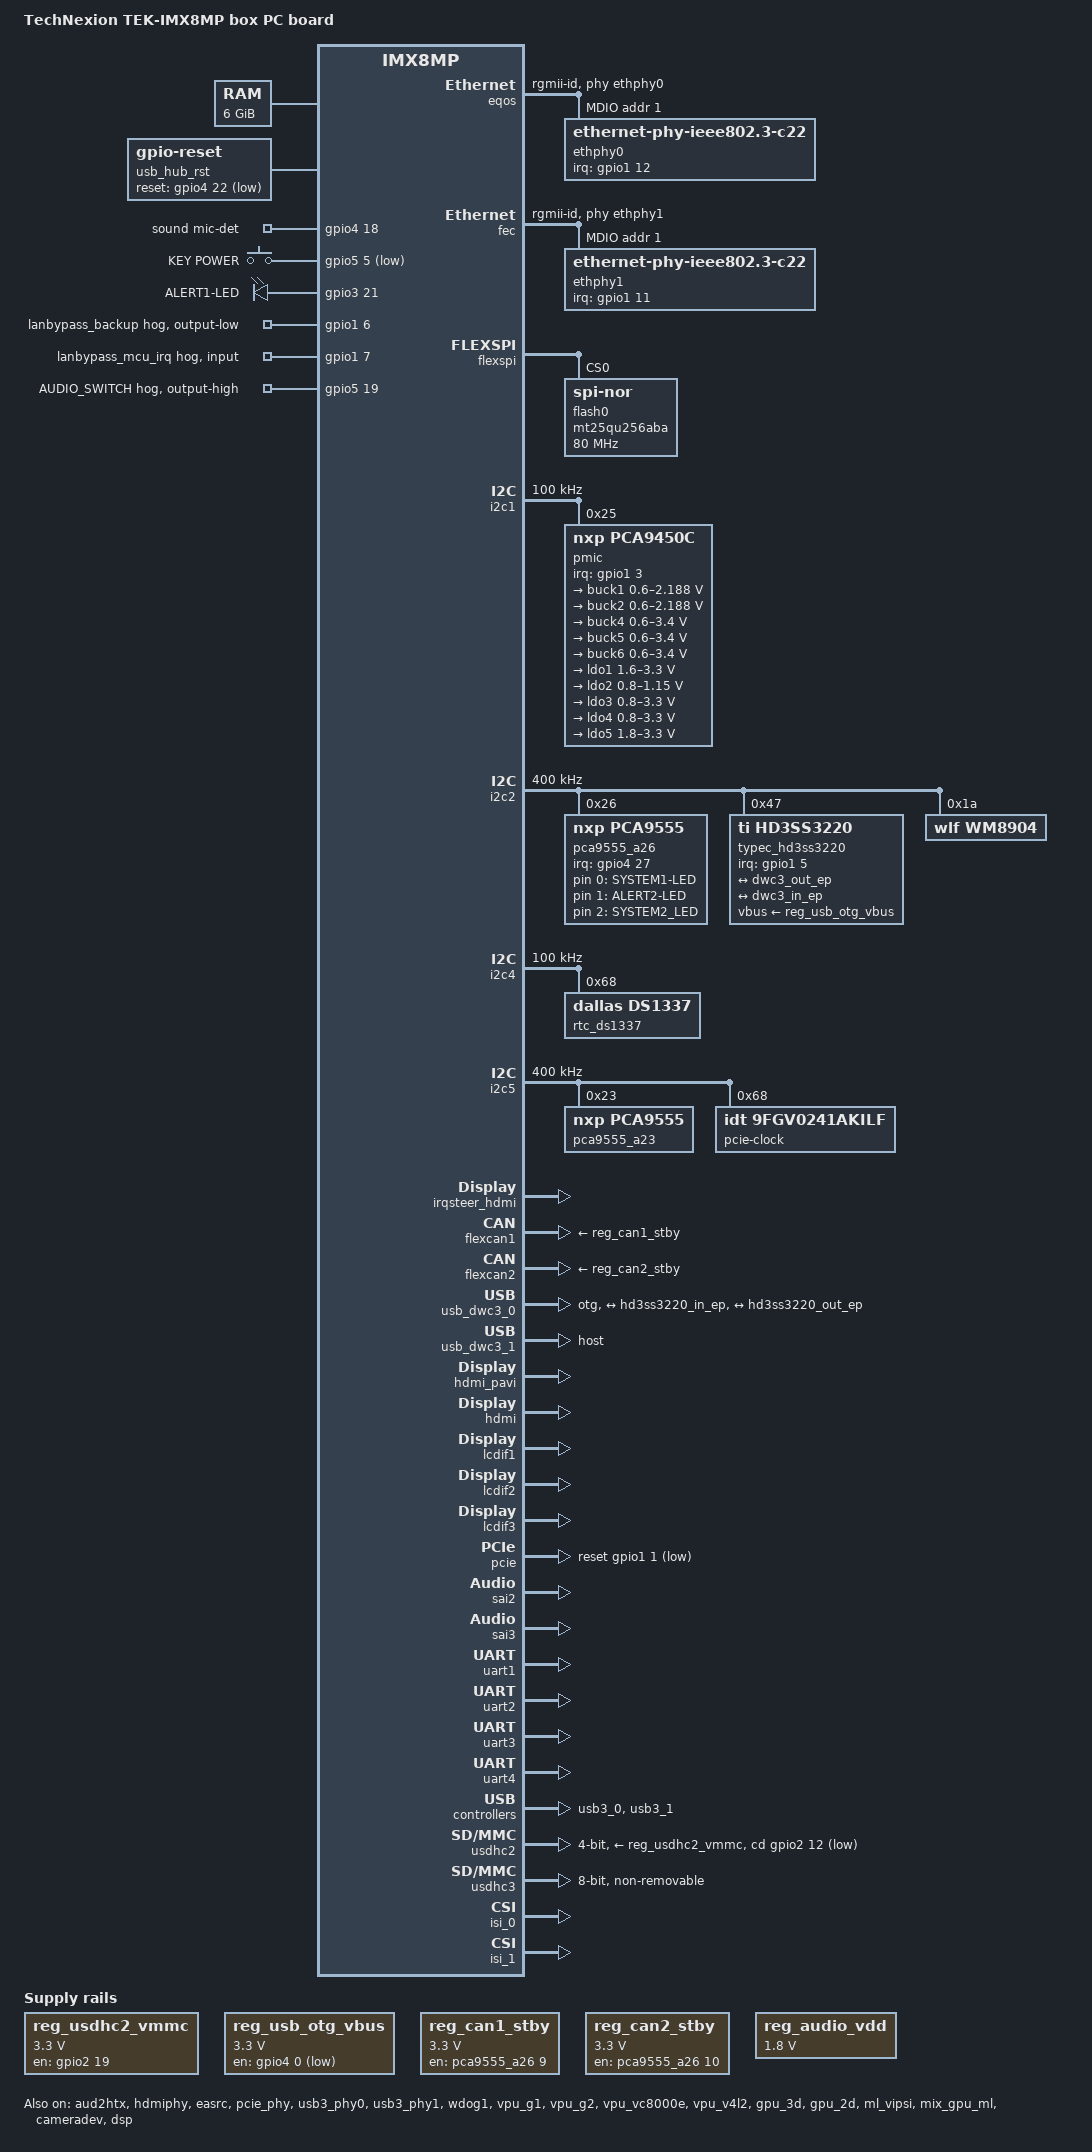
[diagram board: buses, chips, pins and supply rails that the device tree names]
// SPDX-License-Identifier: (GPL-2.0+ OR MIT)
/*
 * Copyright 2021 Technexion Ltd.
 *
 * Author: Wig Cheng <wig.cheng@technexion.com>
 *
 */

/dts-v1/;

#include <dt-bindings/usb/pd.h>
#include "imx8mp.dtsi"

/ {
	model = "TechNexion TEK-IMX8MP box PC board";
	compatible = "fsl,imx8mp-tek", "fsl,imx8mp";

	 memory@40000000 {
		device_type = "memory";
		reg = <0x0 0x40000000 0 0xc0000000>,
					<0x1 0x00000000 0 0xc0000000>;
	};

	chosen {
		stdout-path = &uart2;
	};

	reg_usdhc2_vmmc: regulator-usdhc2 {
		compatible = "regulator-fixed";
		regulator-name = "VSD_3V3";
		regulator-min-microvolt = <3300000>;
		regulator-max-microvolt = <3300000>;
		gpio = <&gpio2 19 GPIO_ACTIVE_HIGH>;
		enable-active-high;
		startup-delay-us = <100>;
		off-on-delay-us = <12000>;
	};

	reg_usb_otg_vbus: usb_otg_vbus {
		pinctrl-names = "default";
		pinctrl-0 = <&pinctrl_otg_vbus>;
		compatible = "regulator-fixed";
		regulator-name = "usb_otg_vbus";
		regulator-min-microvolt = <3300000>;
		regulator-max-microvolt = <3300000>;
		gpio = <&gpio4 0 GPIO_ACTIVE_LOW>;
		enable-active-low;
	};

	reg_can1_stby: regulator-can1-stby {
		compatible = "regulator-fixed";
		regulator-name = "can1-stby";
		pinctrl-names = "default";
		regulator-min-microvolt = <3300000>;
		regulator-max-microvolt = <3300000>;
		gpio = <&pca9555_a26 9 GPIO_ACTIVE_HIGH>;
		enable-active-high;
	};

	reg_can2_stby: regulator-can2-stby {
		compatible = "regulator-fixed";
		regulator-name = "can2-stby";
		pinctrl-names = "default";
		regulator-min-microvolt = <3300000>;
		regulator-max-microvolt = <3300000>;
		gpio = <&pca9555_a26 10 GPIO_ACTIVE_HIGH>;
		enable-active-high;
	};

	reg_audio_vdd: regulator-audio-vdd {
		compatible = "regulator-fixed";
		regulator-name = "wm8904_supply";
		regulator-min-microvolt = <1800000>;
		regulator-max-microvolt = <1800000>;
		regulator-always-on;
	};

	sound-hdmi {
		compatible = "fsl,imx-audio-cdnhdmi";
		model = "audio-hdmi";
		audio-cpu = <&aud2htx>;
		hdmi-out;
		constraint-rate = <44100>,
				<88200>,
				<176400>,
				<32000>,
				<48000>,
				<96000>,
				<192000>;
		status = "okay";
	};

	usb_hub_rst: usb_hub_rst {
		compatible = "gpio-reset";
		pinctrl-names = "default";
		pinctrl-0 = <&pinctrl_usb_hub_ctrl>;
		reset-gpios = <&gpio4 22 GPIO_ACTIVE_LOW>;
		reset-delay-us = <10>;
		#reset-cells = <0>;
	};

	sound {
		compatible = "fsl,imx-audio-wm8904";
		model = "wm8904-audio";
		cpu-dai = <&sai3>;
		audio-codec = <&wm8904>;
		asrc-controller;
		gpr = <&gpr>;
		audio-routing =
			"Headphone Jack", "HPOUTL",
			"Headphone Jack", "HPOUTR",
			"Mic Jack", "MICBIAS",
			"IN1R", "Mic Jack";

		mic-det-gpios = <&gpio4 18 0>;
	};

 gpio_keys {
		compatible = "gpio-keys";
		pinctrl-names = "default";
		pinctrl-0 = <&pinctrl_gpio_key_user>;

		reboot {
			gpios = <&gpio5 5 GPIO_ACTIVE_LOW>;
			label = "KEY POWER";
			linux,code = <KEY_POWER>;
		};
	};

	leds {
		compatible = "gpio-leds";
		pinctrl-names = "default";
		pinctrl-0 = <&pinctrl_gpio_leds>;

		led_1 {
			label = "ALERT1-LED";
			gpios = <&gpio3 21 GPIO_ACTIVE_HIGH>;
			default-state = "on";
		};

		led_2 {
			label = "SYSTEM1-LED";
			gpios = <&pca9555_a26 0 GPIO_ACTIVE_HIGH>;
			default-state = "on";
			linux,default-trigger = "heartbeat";
		};

		led_3 {
			label = "ALERT2-LED";
			gpios = <&pca9555_a26 1 GPIO_ACTIVE_HIGH>;
			default-state = "on";
		};

		led_4 {
			label = "SYSTEM2_LED";
			gpios = <&pca9555_a26 2 GPIO_ACTIVE_HIGH>;
			default-state = "on";
		};
	};
};

&aud2htx {
	status = "okay";
};

&gpio1 {
	pinctrl-0 = <&pinctrl_gpio1>;

	gpio-line-names =	\
		"", "", "", "", "", "", "LANBYPASS_BACKUP", "LANBYPASS_MCU_IRQ",	\
		"LANBYPASS_gen_clock", "", "", "", "", "", "", "",	\
		"", "", "", "", "", "", "", "",	\
		"", "", "", "", "", "", "", "";

	lanbypass_backup {
		gpio-hog;
		gpios = <6 GPIO_ACTIVE_HIGH>;
		output-low;
	};

	lanbypass_mcu_irq {
		gpio-hog;
		gpios = <7 GPIO_ACTIVE_HIGH>;
		input;
	};
};

&gpio3 {
	pinctrl-0 = <&pinctrl_gpio3>;

	gpio-line-names =	\
		"", "", "", "", "", "", "", "",	\
		"", "", "", "", "", "", "", "",	\
		"", "", "", "BUZZER", "", "LED1", "", "",	\
		"", "", "", "", "", "", "", "";
};

&gpio4 {
	pinctrl-0 = <&pinctrl_gpio4>;

	gpio-line-names =	\
		"", "", "", "", "", "", "", "",	\
		"", "", "", "", "", "", "", "",	\
		"", "", "", "", "", "", "", "",	\
		"", "", "", "", "SE050_EN", "SE050_ISO7816_RST", "", "";
};

&gpio5 {
	pinctrl-0 = <&pinctrl_gpio5>;

	audio_switch {
		gpio-hog;
		gpios = <19 GPIO_ACTIVE_HIGH>;
		line-name = "AUDIO_SWITCH";
		output-high;
	};
};

&A53_0 {
	cpu-supply = <&buck2>;
};

&A53_1 {
	cpu-supply = <&buck2>;
};

&A53_2 {
	cpu-supply = <&buck2>;
};

&A53_3 {
	cpu-supply = <&buck2>;
};

&eqos {
	pinctrl-names = "default";
	pinctrl-0 = <&pinctrl_eqos>;
	phy-mode = "rgmii-id";
	phy-handle = <&ethphy0>;
	status = "okay";

	mdio {
		compatible = "snps,dwmac-mdio";
		#address-cells = <1>;
		#size-cells = <0>;

		ethphy0: ethernet-phy@1 {
			/* Atheros AR8035 PHY */
			compatible = "ethernet-phy-ieee802.3-c22";
			interrupts-extended = <&gpio1 12 IRQ_TYPE_LEVEL_LOW>;
			reg = <1>;
			eee-broken-1000t;
			at803x,eee-disabled;
			at803x,vddio-1p8v;
			rtl821x,aldps-disable;
			rtl821x,clkout-disable;
		};
	};
};

&fec {
	pinctrl-names = "default";
	pinctrl-0 = <&pinctrl_fec>;
	phy-mode = "rgmii-id";
	phy-handle = <&ethphy1>;
	fsl,magic-packet;
	status = "okay";

	mdio {
		#address-cells = <1>;
		#size-cells = <0>;

		ethphy1: ethernet-phy@1 {
			compatible = "ethernet-phy-ieee802.3-c22";
			interrupts-extended = <&gpio1 11 IRQ_TYPE_LEVEL_LOW>;
			reg = <1>;
			at803x,eee-disabled;
			at803x,vddio-1p8v;
			rtl821x,aldps-disable;
			rtl821x,clkout-disable;
		};
	};
};

&snvs_rtc {
	status = "disbaled";
};

&snvs_pwrkey {
	status = "disabled";
};

&flexspi {
	pinctrl-names = "default";
	pinctrl-0 = <&pinctrl_flexspi0>;
	status = "okay";

	flash0: mt25qu256aba@0 {
		reg = <0>;
		#address-cells = <1>;
		#size-cells = <1>;
		compatible = "jedec,spi-nor";
		spi-max-frequency = <80000000>;
		spi-tx-bus-width = <4>;
		spi-rx-bus-width = <4>;
	};
};

&i2c1 {
	clock-frequency = <100000>;
	pinctrl-names = "default";
	pinctrl-0 = <&pinctrl_i2c1>;
	status = "okay";

	pmic: pca9450@25 {
		reg = <0x25>;
		compatible = "nxp,pca9450c";
		/* PMIC PCA9450 PMIC_nINT GPIO1_IO3 */
		pinctrl-0 = <&pinctrl_pmic>;
		interrupt-parent = <&gpio1>;
		interrupts = <3 GPIO_ACTIVE_LOW>;

		regulators {
			buck1: BUCK1 {
				regulator-name = "BUCK1";
				regulator-min-microvolt = <600000>;
				regulator-max-microvolt = <2187500>;
				regulator-boot-on;
				regulator-always-on;
				regulator-ramp-delay = <3125>;
			};

			buck2: BUCK2 {
				regulator-name = "BUCK2";
				regulator-min-microvolt = <600000>;
				regulator-max-microvolt = <2187500>;
				regulator-boot-on;
				regulator-always-on;
				regulator-ramp-delay = <3125>;
				nxp,dvs-run-voltage = <950000>;
				nxp,dvs-standby-voltage = <850000>;
			};

			buck4: BUCK4{
				regulator-name = "BUCK4";
				regulator-min-microvolt = <600000>;
				regulator-max-microvolt = <3400000>;
				regulator-boot-on;
				regulator-always-on;
			};

			buck5: BUCK5{
				regulator-name = "BUCK5";
				regulator-min-microvolt = <600000>;
				regulator-max-microvolt = <3400000>;
				regulator-boot-on;
				regulator-always-on;
			};

			buck6: BUCK6 {
				regulator-name = "BUCK6";
				regulator-min-microvolt = <600000>;
				regulator-max-microvolt = <3400000>;
				regulator-boot-on;
				regulator-always-on;
			};

			ldo1: LDO1 {
				regulator-name = "LDO1";
				regulator-min-microvolt = <1600000>;
				regulator-max-microvolt = <3300000>;
				regulator-boot-on;
				regulator-always-on;
			};

			ldo2: LDO2 {
				regulator-name = "LDO2";
				regulator-min-microvolt = <800000>;
				regulator-max-microvolt = <1150000>;
				regulator-boot-on;
				regulator-always-on;
			};

			ldo3: LDO3 {
				regulator-name = "LDO3";
				regulator-min-microvolt = <800000>;
				regulator-max-microvolt = <3300000>;
				regulator-boot-on;
				regulator-always-on;
			};

			ldo4: LDO4 {
				regulator-name = "LDO4";
				regulator-min-microvolt = <800000>;
				regulator-max-microvolt = <3300000>;
				regulator-boot-on;
				regulator-always-on;
			};

			ldo5: LDO5 {
				regulator-name = "LDO5";
				regulator-min-microvolt = <1800000>;
				regulator-max-microvolt = <3300000>;
				regulator-boot-on;
				regulator-always-on;
			};
		};
	};
};

&i2c2 {
	clock-frequency = <400000>;
	pinctrl-names = "default";
	pinctrl-0 = <&pinctrl_i2c2>;
	status = "okay";

	pca9555_a26: pca9555@26 {
		compatible = "nxp,pca9555";
		pinctrl-names = "default";
		pinctrl-0 = <&pinctrl_pca9555_a26_irq>;
		reg = <0x26>;
		gpio-controller;
		#gpio-cells = <2>;
		interrupt-controller;
		#interrupt-cells = <2>;
		interrupt-parent = <&gpio4>;
		interrupts = <27 IRQ_TYPE_LEVEL_LOW>;
		status = "okay";
		gpio-line-names = "LED2", "LED3", "LED4", "OTG_PD_INT", "OTG_PD_FAULT", "CSI1_INT", "CSI1_PD", "M2_1_DISABLE_N",
							"M2_2_DISABLE_N", "EXT_GPIO1", "EXT_GPIO2", "EXT_GPIO3", "M2_1_POWEROFF", "M2_2_POWEROFF", "M2_2_WWAN_WAKE", "M2_1_WWAN_WAKE";
	};

	typec_hd3ss3220: hd3ss3220@47 {
		compatible = "ti,hd3ss3220";
		interrupts-extended = <&gpio1 5 IRQ_TYPE_LEVEL_LOW>;
		pinctrl-names = "default";
		pinctrl-0 = <&pinctrl_hd3ss3220_irq>;
		vbus-supply = <&reg_usb_otg_vbus>;
		reg = <0x47>;

		ports {
			#address-cells = <1>;
			#size-cells = <0>;

			port@0 {
				reg = <0>;
				hd3ss3220_in_ep: endpoint {
					remote-endpoint = <&dwc3_out_ep>;
				};
			};

			port@1 {
				reg = <1>;
				hd3ss3220_out_ep: endpoint {
					remote-endpoint = <&dwc3_in_ep>;
				};
			};
		};
	};

	wm8904: wm8904@1a {
		compatible = "wlf,wm8904";
		reg = <0x1a>;
		clocks = <&audio_blk_ctrl IMX8MP_CLK_AUDIO_BLK_CTRL_SAI3_MCLK1>;
		clock-names = "mclk";
		wlf,shared-lrclk;
	};

	vizionlink_1: vizionlink@30 {
		reg = <0x30>;
		status = "disabled";

		i2c_dev_list {
			#address-cells = <1>;
			#size-cells = <0>;

			vizionlink_pca9554_a25_1: vizionlink_pca9554@25 {
				reg = <0x25>;
				status = "disabled";
			};

			vizionlink_tevi_ov5640_1: vizionlink_ov5640_mipi@3c {
				reg = <0x3c>;
				status = "disabled";
			};

			vizionlink_tevi_ap1302_1: vizionlink_tevi_ap1302@3d {
				reg = <0x3d>;
				status = "disabled";
			};
		};
	};
};

&i2c4 {
	clock-frequency = <100000>;
	pinctrl-names = "default";
	pinctrl-0 = <&pinctrl_i2c4>;
	status = "okay";

	rtc_ds1337: ds1337@68 {
		compatible = "dallas,ds1337";
		reg = <0x68>;
	};
};

&i2c5 {
	clock-frequency = <400000>;
	pinctrl-names = "default";
	pinctrl-0 = <&pinctrl_i2c5>;
	status = "okay";

	pca9555_a23: pca9555@23 {
		compatible = "nxp,pca9555";
		pinctrl-names = "default";
		pinctrl-0 = <&pinctrl_pca9555_a23_irq>;
		reg = <0x23>;
		gpio-controller;
		#gpio-cells = <2>;
		status = "okay";
		gpio-line-names = "IO0_0", "IO0_1", "IO0_2", "IO0_3", "IO0_4", "IO0_5", "IO0_6", "IO0_7",
							"IO1_0", "IO1_1", "IO1_2", "IO1_3", "IO1_4", "IO1_5", "IO1_6", "IO1_7";
	};

	pcie-clock@68 {
		compatible = "idt,9FGV0241AKILF";
		reg = <0x68>;
	};

	vizionlink_0: vizionlink@30 {
		reg = <0x30>;
		status = "disabled";

		i2c_dev_list {
			#address-cells = <1>;
			#size-cells = <0>;

			vizionlink_pca9554_a25_0: vizionlink_pca9554@25 {
				reg = <0x25>;
				status = "disabled";
			};

			vizionlink_tevi_ov5640_0: vizionlink_ov5640_mipi@3c {
				reg = <0x3c>;
				status = "disabled";
			};

			vizionlink_tevi_ap1302_0: vizionlink_tevi_ap1302@3d {
				reg = <0x3d>;
				status = "disabled";
			};
		};
	};
};

&irqsteer_hdmi {
	status = "okay";
};

&flexcan1 {
	pinctrl-names = "default";
	pinctrl-0 = <&pinctrl_flexcan1>;
	xceiver-supply = <&reg_can1_stby>;
	status = "okay";
};

&flexcan2 {
	pinctrl-names = "default";
	pinctrl-0 = <&pinctrl_flexcan2>;
	xceiver-supply = <&reg_can2_stby>;
	status = "okay";
};

&usb_dwc3_0 {
	dr_mode = "otg";
	pinctrl-names = "default";
	hnp-disable;
	srp-disable;
	adp-disable;
	usb-role-switch;
	status = "okay";

	ports {
		#address-cells = <1>;
		#size-cells = <0>;

		port@0 {
			reg = <0>;
			dwc3_out_ep: endpoint {
				remote-endpoint = <&hd3ss3220_in_ep>;
			};
		};

		port@1 {
			reg = <1>;
			dwc3_in_ep: endpoint {
				remote-endpoint = <&hd3ss3220_out_ep>;
			};
		};
	};
};

&usb_dwc3_1 {
	dr_mode = "host";
	status = "okay";
};

&hdmi_pavi {
	status = "okay";
};

&hdmi {
	status = "okay";
};

&hdmiphy {
	status = "okay";
};

&lcdif1 {
	status = "okay";
};

&lcdif2 {
	status = "okay";
};

&lcdif3 {
	status = "okay";
};

&ldb {
	status = "disabled";
};

&ldb_phy {
	status = "disabled";
};

&mipi_dsi {
	status = "disabled";
};

&mipi_csi_0 {
	status = "disabled";
};

&mipi_csi_1 {
	status = "disabled";
};

&easrc {
	fsl,asrc-rate  = <48000>;
	status = "okay";
};

&pcie{
	pinctrl-names = "default";
	pinctrl-0 = <&pinctrl_pcie>;
	clkreq-gpio = <&gpio1 13 GPIO_ACTIVE_LOW>;
	reset-gpio = <&gpio1 1 GPIO_ACTIVE_LOW>;
	ext_osc = <1>;
	clocks = <&clk IMX8MP_CLK_HSIO_ROOT>,
		 <&clk IMX8MP_CLK_PCIE_AUX>,
		 <&clk IMX8MP_CLK_HSIO_AXI>,
		 <&clk IMX8MP_CLK_PCIE_ROOT>;
	clock-names = "pcie", "pcie_aux", "pcie_phy", "pcie_bus";
	assigned-clocks = <&clk IMX8MP_CLK_HSIO_AXI>,
			  <&clk IMX8MP_CLK_PCIE_AUX>;
	assigned-clock-rates = <500000000>, <10000000>;
	assigned-clock-parents = <&clk IMX8MP_SYS_PLL2_500M>,
				 <&clk IMX8MP_SYS_PLL2_50M>;
	status = "okay";
};

&pcie_phy{
	ext_osc = <1>;
	status = "okay";
};

&sai2 {
	#sound-dai-cells = <0>;
	pinctrl-names = "default";
	pinctrl-0 = <&pinctrl_sai2>;
	assigned-clocks = <&clk IMX8MP_CLK_SAI2>;
	assigned-clock-parents = <&clk IMX8MP_AUDIO_PLL1_OUT>;
	assigned-clock-rates = <12288000>;
	clocks = <&audio_blk_ctrl IMX8MP_CLK_AUDIO_BLK_CTRL_SAI2_IPG>, <&clk IMX8MP_CLK_DUMMY>,
		 <&audio_blk_ctrl IMX8MP_CLK_AUDIO_BLK_CTRL_SAI2_MCLK1>, <&clk IMX8MP_CLK_DUMMY>,
		 <&clk IMX8MP_CLK_DUMMY>;
	clock-names = "bus", "mclk0", "mclk1", "mclk2", "mclk3";
	fsl,sai-mclk-direction-output;
	status = "okay";
};

&sai3 {
	pinctrl-names = "default";
	pinctrl-0 = <&pinctrl_sai3>;
	assigned-clocks = <&clk IMX8MP_CLK_SAI3>;
	assigned-clock-parents = <&clk IMX8MP_AUDIO_PLL1_OUT>;
	assigned-clock-rates = <12288000>;
	clocks = <&audio_blk_ctrl IMX8MP_CLK_AUDIO_BLK_CTRL_SAI3_IPG>, <&clk IMX8MP_CLK_DUMMY>,
		 <&audio_blk_ctrl IMX8MP_CLK_AUDIO_BLK_CTRL_SAI3_MCLK1>, <&clk IMX8MP_CLK_DUMMY>,
		 <&clk IMX8MP_CLK_DUMMY>;
	clock-names = "bus", "mclk0", "mclk1", "mclk2", "mclk3";
	fsl,sai-mclk-direction-output;
	status = "okay";
};

&sdma2 {
	status = "okay";
};

&uart1 {
	pinctrl-names = "default";
	pinctrl-0 = <&pinctrl_uart1>;
	assigned-clocks = <&clk IMX8MP_CLK_UART1>;
	assigned-clock-parents = <&clk IMX8MP_SYS_PLL1_80M>;
	fsl,uart-has-rtscts;
	status = "okay";
};

/* console */
&uart2 {
	pinctrl-names = "default";
	pinctrl-0 = <&pinctrl_uart2>;
	status = "okay";
};

&uart3 {
	pinctrl-names = "default";
	pinctrl-0 = <&pinctrl_uart3>;
	assigned-clocks = <&clk IMX8MP_CLK_UART3>;
	assigned-clock-parents = <&clk IMX8MP_SYS_PLL1_80M>;
	fsl,uart-has-rtscts;
	status = "okay";
};

&uart4 {
	pinctrl-names = "default";
	pinctrl-0 = <&pinctrl_uart4>;
	assigned-clocks = <&clk IMX8MP_CLK_UART4>;
	assigned-clock-parents = <&clk IMX8MP_SYS_PLL1_80M>;
	fsl,uart-has-rtscts;
	status = "okay";
};

&usb3_phy0 {
	fsl,phy-tx-vref-tune = <0xe>;
	fsl,phy-tx-preemp-amp-tune = <3>;
	fsl,phy-tx-vboost-level = <5>;
	fsl,phy-comp-dis-tune = <7>;
	fsl,pcs-tx-deemph-3p5db = <0x21>;
	fsl,phy-pcs-tx-swing-full = <0x7f>;
	status = "okay";
};

&usb3_0 {
	status = "okay";
};

&usb3_phy1 {
	fsl,phy-tx-preemp-amp-tune = <3>;
	fsl,phy-tx-vref-tune = <0xb>;
	status = "okay";
};

&usb3_1 {
	status = "okay";
};

/* SD card on baseboard */
&usdhc2 {
	assigned-clocks = <&clk IMX8MP_CLK_USDHC2>;
	assigned-clock-rates = <400000000>;
	pinctrl-names = "default", "state_100mhz", "state_200mhz";
	pinctrl-0 = <&pinctrl_usdhc2>, <&pinctrl_usdhc2_gpio>;
	pinctrl-1 = <&pinctrl_usdhc2_100mhz>, <&pinctrl_usdhc2_gpio>;
	pinctrl-2 = <&pinctrl_usdhc2_200mhz>, <&pinctrl_usdhc2_gpio>;
	cd-gpios = <&gpio2 12 GPIO_ACTIVE_LOW>;
	vmmc-supply = <&reg_usdhc2_vmmc>;
	bus-width = <4>;
	status = "okay";
};

/* eMMC on SOM */
&usdhc3 {
	assigned-clocks = <&clk IMX8MP_CLK_USDHC3>;
	assigned-clock-rates = <400000000>;
	pinctrl-names = "default", "state_100mhz", "state_200mhz";
	pinctrl-0 = <&pinctrl_usdhc3>;
	pinctrl-1 = <&pinctrl_usdhc3_100mhz>;
	pinctrl-2 = <&pinctrl_usdhc3_200mhz>;
	bus-width = <8>;
	non-removable;
	status = "okay";
};

&wdog1 {
	pinctrl-names = "default";
	pinctrl-0 = <&pinctrl_wdog>;
	fsl,ext-reset-output;
	status = "okay";
};

&iomuxc {
	pinctrl-names = "default";
	pinctrl-0 = <&pinctrl_hog>;

	pinctrl_hog: hoggrp {
		fsl,pins = <
			MX8MP_IOMUXC_HDMI_DDC_SCL__HDMIMIX_HDMI_SCL	0x400001c3
			MX8MP_IOMUXC_HDMI_DDC_SDA__HDMIMIX_HDMI_SDA	0x400001c3
			MX8MP_IOMUXC_HDMI_HPD__HDMIMIX_HDMI_HPD		0x40000019
			MX8MP_IOMUXC_HDMI_CEC__HDMIMIX_HDMI_CEC		0x40000019
		>;
	};


	pinctrl_usb_hub_ctrl: usbhubctrlgrp {
		fsl,pins = <
			MX8MP_IOMUXC_SAI2_RXC__GPIO4_IO22		0x41 /* USB_HUB_RESET */
		>;
	};

	pinctrl_hd3ss3220_irq: hd3ss3220_irqgrp {
		fsl,pins = <
			MX8MP_IOMUXC_GPIO1_IO05__GPIO1_IO05		0x41
		>;
	};

	pinctrl_gpio_leds: gpioledsgrp {
		fsl,pins = <
			MX8MP_IOMUXC_SAI5_RXD0__GPIO3_IO21		0x41
		>;
	};

	pinctrl_pwm1: pwm1grp {
		fsl,pins = <
			MX8MP_IOMUXC_SPDIF_EXT_CLK__PWM1_OUT	0x116
		>;
	};

	pinctrl_gpio1: gpio1grp {
		fsl,pins = <
			MX8MP_IOMUXC_GPIO1_IO06__GPIO1_IO06		0x16 /* LAN_BYPASS */
			MX8MP_IOMUXC_GPIO1_IO07__GPIO1_IO07		0x16 /* CPU_INT */
			MX8MP_IOMUXC_GPIO1_IO08__GPIO1_IO08		0x16 /* CPU_DET */
		>;
	};

	pinctrl_gpio3: gpio3grp {
		fsl,pins = <
			MX8MP_IOMUXC_SAI5_RXFS__GPIO3_IO19	0x19 /* BUZZER */
		>;
	};

	pinctrl_gpio4: gpio4grp {
		fsl,pins = <
			MX8MP_IOMUXC_SAI3_RXFS__GPIO4_IO28	0x19 /* SE050_EN */
			MX8MP_IOMUXC_SAI3_RXC__GPIO4_IO29		0x19 /* SE050 ISO7816 RST */
		>;
	};

	pinctrl_se050_iso7816_clk: se050iso7816clkgrp {
		fsl,pins = <
			MX8MP_IOMUXC_SAI5_RXC__AUDIOMIX_PDM_CLK	0xd6
		>;
	};

	pinctrl_gpio5: gpio5grp {
		fsl,pins = <
			MX8MP_IOMUXC_I2C3_SDA__GPIO5_IO19	0x19 /* AUDIO_SWITCH*/
		>;
	};

	pinctrl_eqos: eqosgrp {
		fsl,pins = <
			MX8MP_IOMUXC_ENET_MDC__ENET_QOS_MDC	0x3
			MX8MP_IOMUXC_ENET_MDIO__ENET_QOS_MDIO	0x23
			MX8MP_IOMUXC_ENET_RD0__ENET_QOS_RGMII_RD0	0x91
			MX8MP_IOMUXC_ENET_RD1__ENET_QOS_RGMII_RD1	0x91
			MX8MP_IOMUXC_ENET_RD2__ENET_QOS_RGMII_RD2	0x91
			MX8MP_IOMUXC_ENET_RD3__ENET_QOS_RGMII_RD3	0x91
			MX8MP_IOMUXC_ENET_RXC__CCM_ENET_QOS_CLOCK_GENERATE_RX_CLK	0x91
			MX8MP_IOMUXC_ENET_RX_CTL__ENET_QOS_RGMII_RX_CTL	0x91
			MX8MP_IOMUXC_ENET_TD0__ENET_QOS_RGMII_TD0		0x1f
			MX8MP_IOMUXC_ENET_TD1__ENET_QOS_RGMII_TD1		0x1f
			MX8MP_IOMUXC_ENET_TD2__ENET_QOS_RGMII_TD2		0x1f
			MX8MP_IOMUXC_ENET_TD3__ENET_QOS_RGMII_TD3		0x1f
			MX8MP_IOMUXC_ENET_TX_CTL__ENET_QOS_RGMII_TX_CTL	0x1f
			MX8MP_IOMUXC_ENET_TXC__CCM_ENET_QOS_CLOCK_GENERATE_TX_CLK	0x1f
			MX8MP_IOMUXC_GPIO1_IO10__GPIO1_IO10		0x100
			MX8MP_IOMUXC_GPIO1_IO12__GPIO1_IO12		0x10
		>;
	};

	pinctrl_fec: fecgrp {
		fsl,pins = <
			MX8MP_IOMUXC_SAI1_RXD2__ENET1_MDC	0x3
			MX8MP_IOMUXC_SAI1_RXD3__ENET1_MDIO	0x3
			MX8MP_IOMUXC_SAI1_RXD4__ENET1_RGMII_RD0	0x91
			MX8MP_IOMUXC_SAI1_RXD5__ENET1_RGMII_RD1	0x91
			MX8MP_IOMUXC_SAI1_RXD6__ENET1_RGMII_RD2	0x91
			MX8MP_IOMUXC_SAI1_RXD7__ENET1_RGMII_RD3	0x91
			MX8MP_IOMUXC_SAI1_TXC__ENET1_RGMII_RXC	0x91
			MX8MP_IOMUXC_SAI1_TXFS__ENET1_RGMII_RX_CTL	0x91
			MX8MP_IOMUXC_SAI1_TXD0__ENET1_RGMII_TD0	0x1f
			MX8MP_IOMUXC_SAI1_TXD1__ENET1_RGMII_TD1	0x1f
			MX8MP_IOMUXC_SAI1_TXD2__ENET1_RGMII_TD2	0x1f
			MX8MP_IOMUXC_SAI1_TXD3__ENET1_RGMII_TD3	0x1f
			MX8MP_IOMUXC_SAI1_TXD4__ENET1_RGMII_TX_CTL	0x1f
			MX8MP_IOMUXC_SAI1_TXD5__ENET1_RGMII_TXC	0x1f
			MX8MP_IOMUXC_GPIO1_IO09__GPIO1_IO09		0x100
			MX8MP_IOMUXC_GPIO1_IO11__GPIO1_IO11		0x10
		>;
	};

	pinctrl_flexcan1: flexcan1grp {
		fsl,pins = <
			MX8MP_IOMUXC_SAI5_RXD2__CAN1_RX		0x154
			MX8MP_IOMUXC_SAI5_RXD1__CAN1_TX		0x154
		>;
	};

	pinctrl_flexcan2: flexcan2grp {
		fsl,pins = <
			MX8MP_IOMUXC_SAI5_MCLK__CAN2_RX		0x154
			MX8MP_IOMUXC_SAI5_RXD3__CAN2_TX		0x154
		>;
	};

	pinctrl_flexspi0: flexspi0grp {
		fsl,pins = <
			MX8MP_IOMUXC_NAND_ALE__FLEXSPI_A_SCLK		0x1c2
			MX8MP_IOMUXC_NAND_CE0_B__FLEXSPI_A_SS0_B	0x82
			MX8MP_IOMUXC_NAND_DATA00__FLEXSPI_A_DATA00	0x82
			MX8MP_IOMUXC_NAND_DATA01__FLEXSPI_A_DATA01	0x82
			MX8MP_IOMUXC_NAND_DATA02__FLEXSPI_A_DATA02	0x82
			MX8MP_IOMUXC_NAND_DATA03__FLEXSPI_A_DATA03	0x82
		>;
	};

	pinctrl_gpio_key_user: gpiokeyusergrp {
		fsl,pins = <
			MX8MP_IOMUXC_SPDIF_EXT_CLK__GPIO5_IO05	0x19
		>;
	};

	pinctrl_i2c1: i2c1grp {
		fsl,pins = <
			MX8MP_IOMUXC_I2C1_SCL__I2C1_SCL		0x400001a3
			MX8MP_IOMUXC_I2C1_SDA__I2C1_SDA		0x400001a3
		>;
	};

	pinctrl_i2c2: i2c2grp {
		fsl,pins = <
			MX8MP_IOMUXC_I2C2_SCL__I2C2_SCL			0x400001a3
			MX8MP_IOMUXC_I2C2_SDA__I2C2_SDA			0x400001a3
		>;
	};

	pinctrl_i2c4: i2c4grp {
		fsl,pins = <
			MX8MP_IOMUXC_I2C4_SCL__I2C4_SCL			0x400001c3
			MX8MP_IOMUXC_I2C4_SDA__I2C4_SDA			0x400001c3
		>;
	};

	pinctrl_i2c5: i2c5grp {
		fsl,pins = <
			MX8MP_IOMUXC_SPDIF_TX__I2C5_SCL			0x400001a3
			MX8MP_IOMUXC_SPDIF_RX__I2C5_SDA			0x400001a3
		>;
	};

	pinctrl_pcie: pciegrp {
		fsl,pins = <
			MX8MP_IOMUXC_GPIO1_IO13__GPIO1_IO13		0x41 /* PCIE CLKREQ */
			MX8MP_IOMUXC_SAI2_RXFS__GPIO4_IO21		0x41 /* PCIE WAKE */
			MX8MP_IOMUXC_GPIO1_IO01__GPIO1_IO01		0x41 /* PCIE RST */
		>;
	};

	pinctrl_pmic: pmicirq {
		fsl,pins = <
			MX8MP_IOMUXC_GPIO1_IO03__GPIO1_IO03	0x41
		>;
	};

	pinctrl_sai2: sai2grp {
		fsl,pins = <
			MX8MP_IOMUXC_SAI2_TXFS__AUDIOMIX_SAI2_TX_SYNC	0xd6
			MX8MP_IOMUXC_SAI2_TXC__AUDIOMIX_SAI2_TX_BCLK	0xd6
			MX8MP_IOMUXC_SAI2_RXD0__AUDIOMIX_SAI2_RX_DATA00	0xd6
		>;
	};

	pinctrl_sai3: sai3grp {
		fsl,pins = <
			MX8MP_IOMUXC_SAI3_MCLK__AUDIOMIX_SAI3_MCLK		0xd6
			MX8MP_IOMUXC_SAI3_TXFS__AUDIOMIX_SAI3_TX_SYNC	0xd6
			MX8MP_IOMUXC_SAI3_TXC__AUDIOMIX_SAI3_TX_BCLK	0xd6
			MX8MP_IOMUXC_SAI3_RXD__AUDIOMIX_SAI3_RX_DATA00	0xd6
			MX8MP_IOMUXC_SAI3_TXD__AUDIOMIX_SAI3_TX_DATA00	0xd6
			MX8MP_IOMUXC_SAI1_TXD6__GPIO4_IO18							0x41
		>;
	};

	pinctrl_uart1: uart1grp {
		fsl,pins = <
			MX8MP_IOMUXC_UART1_RXD__UART1_DCE_RX	0x140
			MX8MP_IOMUXC_UART1_TXD__UART1_DCE_TX	0x140
			MX8MP_IOMUXC_UART3_RXD__UART1_DCE_CTS	0x140
			MX8MP_IOMUXC_UART3_TXD__UART1_DCE_RTS	0x140
		>;
	};

	pinctrl_uart2: uart2grp {
		fsl,pins = <
			MX8MP_IOMUXC_UART2_RXD__UART2_DCE_RX	0x49
			MX8MP_IOMUXC_UART2_TXD__UART2_DCE_TX	0x49
		>;
	};

	pinctrl_uart3: uart3grp {
		fsl,pins = <
			MX8MP_IOMUXC_SD1_DATA7__UART3_DCE_RX		0x140
			MX8MP_IOMUXC_SD1_DATA6__UART3_DCE_TX		0x140
			MX8MP_IOMUXC_SD1_STROBE__UART3_DCE_CTS		0x140
			MX8MP_IOMUXC_SD1_RESET_B__UART3_DCE_RTS		0x140
		>;
	};

	pinctrl_uart4: uart4grp {
		fsl,pins = <
			MX8MP_IOMUXC_ECSPI2_SCLK__UART4_DCE_RX		0x140
			MX8MP_IOMUXC_ECSPI2_MOSI__UART4_DCE_TX		0x140
			MX8MP_IOMUXC_ECSPI2_MISO__UART4_DCE_CTS		0x140
			MX8MP_IOMUXC_ECSPI2_SS0__UART4_DCE_RTS		0x140
		>;
	};

	pinctrl_usdhc2_gpio: usdhc2grp-gpio {
		fsl,pins = <
			MX8MP_IOMUXC_SD2_CD_B__GPIO2_IO12 	0x1c4
			MX8MP_IOMUXC_SD2_RESET_B__GPIO2_IO19	0x41
		>;
	};

	pinctrl_usdhc2: usdhc2grp {
		fsl,pins = <
			MX8MP_IOMUXC_SD2_CLK__USDHC2_CLK	0x190
			MX8MP_IOMUXC_SD2_CMD__USDHC2_CMD	0x1d0
			MX8MP_IOMUXC_SD2_DATA0__USDHC2_DATA0	0x1d0
			MX8MP_IOMUXC_SD2_DATA1__USDHC2_DATA1	0x1d0
			MX8MP_IOMUXC_SD2_DATA2__USDHC2_DATA2	0x1d0
			MX8MP_IOMUXC_SD2_DATA3__USDHC2_DATA3	0x1d0
			MX8MP_IOMUXC_GPIO1_IO04__USDHC2_VSELECT	0xc1
		>;
	};

	pinctrl_usdhc2_100mhz: usdhc2grp-100mhz {
		fsl,pins = <
			MX8MP_IOMUXC_SD2_CLK__USDHC2_CLK	0x194
			MX8MP_IOMUXC_SD2_CMD__USDHC2_CMD	0x1d4
			MX8MP_IOMUXC_SD2_DATA0__USDHC2_DATA0	0x1d4
			MX8MP_IOMUXC_SD2_DATA1__USDHC2_DATA1	0x1d4
			MX8MP_IOMUXC_SD2_DATA2__USDHC2_DATA2	0x1d4
			MX8MP_IOMUXC_SD2_DATA3__USDHC2_DATA3	0x1d4
			MX8MP_IOMUXC_GPIO1_IO04__USDHC2_VSELECT 0xc1
		>;
	};

	pinctrl_usdhc2_200mhz: usdhc2grp-200mhz {
		fsl,pins = <
			MX8MP_IOMUXC_SD2_CLK__USDHC2_CLK	0x196
			MX8MP_IOMUXC_SD2_CMD__USDHC2_CMD	0x1d6
			MX8MP_IOMUXC_SD2_DATA0__USDHC2_DATA0	0x1d6
			MX8MP_IOMUXC_SD2_DATA1__USDHC2_DATA1	0x1d6
			MX8MP_IOMUXC_SD2_DATA2__USDHC2_DATA2	0x1d6
			MX8MP_IOMUXC_SD2_DATA3__USDHC2_DATA3	0x1d6
			MX8MP_IOMUXC_GPIO1_IO04__USDHC2_VSELECT 0xc1
		>;
	};

	pinctrl_usdhc3: usdhc3grp {
		fsl,pins = <
			MX8MP_IOMUXC_NAND_WE_B__USDHC3_CLK	0x190
			MX8MP_IOMUXC_NAND_WP_B__USDHC3_CMD	0x1d0
			MX8MP_IOMUXC_NAND_DATA04__USDHC3_DATA0	0x1d0
			MX8MP_IOMUXC_NAND_DATA05__USDHC3_DATA1	0x1d0
			MX8MP_IOMUXC_NAND_DATA06__USDHC3_DATA2	0x1d0
			MX8MP_IOMUXC_NAND_DATA07__USDHC3_DATA3	0x1d0
			MX8MP_IOMUXC_NAND_RE_B__USDHC3_DATA4	0x1d0
			MX8MP_IOMUXC_NAND_CE2_B__USDHC3_DATA5	0x1d0
			MX8MP_IOMUXC_NAND_CE3_B__USDHC3_DATA6	0x1d0
			MX8MP_IOMUXC_NAND_CLE__USDHC3_DATA7	0x1d0
			MX8MP_IOMUXC_NAND_CE1_B__USDHC3_STROBE	0x190
		>;
	};

	pinctrl_usdhc3_100mhz: usdhc3grp-100mhz {
		fsl,pins = <
			MX8MP_IOMUXC_NAND_WE_B__USDHC3_CLK	0x194
			MX8MP_IOMUXC_NAND_WP_B__USDHC3_CMD	0x1d4
			MX8MP_IOMUXC_NAND_DATA04__USDHC3_DATA0	0x1d4
			MX8MP_IOMUXC_NAND_DATA05__USDHC3_DATA1	0x1d4
			MX8MP_IOMUXC_NAND_DATA06__USDHC3_DATA2	0x1d4
			MX8MP_IOMUXC_NAND_DATA07__USDHC3_DATA3	0x1d4
			MX8MP_IOMUXC_NAND_RE_B__USDHC3_DATA4	0x1d4
			MX8MP_IOMUXC_NAND_CE2_B__USDHC3_DATA5	0x1d4
			MX8MP_IOMUXC_NAND_CE3_B__USDHC3_DATA6	0x1d4
			MX8MP_IOMUXC_NAND_CLE__USDHC3_DATA7	0x1d4
			MX8MP_IOMUXC_NAND_CE1_B__USDHC3_STROBE	0x194
		>;
	};

	pinctrl_usdhc3_200mhz: usdhc3grp-200mhz {
		fsl,pins = <
			MX8MP_IOMUXC_NAND_WE_B__USDHC3_CLK	0x196
			MX8MP_IOMUXC_NAND_WP_B__USDHC3_CMD	0x1d6
			MX8MP_IOMUXC_NAND_DATA04__USDHC3_DATA0	0x1d6
			MX8MP_IOMUXC_NAND_DATA05__USDHC3_DATA1	0x1d6
			MX8MP_IOMUXC_NAND_DATA06__USDHC3_DATA2	0x1d6
			MX8MP_IOMUXC_NAND_DATA07__USDHC3_DATA3	0x1d6
			MX8MP_IOMUXC_NAND_RE_B__USDHC3_DATA4	0x1d6
			MX8MP_IOMUXC_NAND_CE2_B__USDHC3_DATA5	0x1d6
			MX8MP_IOMUXC_NAND_CE3_B__USDHC3_DATA6	0x1d6
			MX8MP_IOMUXC_NAND_CLE__USDHC3_DATA7	0x1d6
			MX8MP_IOMUXC_NAND_CE1_B__USDHC3_STROBE	0x196
		>;
	};

	pinctrl_wdog: wdoggrp {
		fsl,pins = <
			MX8MP_IOMUXC_GPIO1_IO02__WDOG1_WDOG_B	0xc6
		>;
	};

	pinctrl_csi0_rst: csi0_rst_grp {
		fsl,pins = <
			MX8MP_IOMUXC_I2C3_SCL__GPIO5_IO18		0x29
			MX8MP_IOMUXC_GPIO1_IO14__CCM_CLKO1		0x59
		>;
	};

	pinctrl_csi1_rst: csi1_rst_grp {
		fsl,pins = <
			MX8MP_IOMUXC_SAI1_TXD7__GPIO4_IO19		0x29
			MX8MP_IOMUXC_GPIO1_IO15__CCM_CLKO2		0x59
		>;
	};

	pinctrl_otg_vbus: otgvbusgrp {
		fsl,pins = <
			MX8MP_IOMUXC_SAI1_RXFS__GPIO4_IO00	0x19 /* USB_OTG_PWR_EN */
			MX8MP_IOMUXC_GPIO1_IO00__GPIO1_IO00	0x19 /* USB_OTG_OC */
		>;
	};

	pinctrl_usb_hub_ctrl: usbhubctrlgrp {
		fsl,pins = <
			MX8MP_IOMUXC_SAI2_RXC__GPIO4_IO22	0x41 /* USB_HUB_RESET */
		>;
	};

	pinctrl_pca9555_a23_irq: pca9555_a23_irqgrp {
		fsl,pins = <
			MX8MP_IOMUXC_SAI2_TXD0__GPIO4_IO26	0x140
		>;
	};

	pinctrl_pca9555_a26_irq: pca9555_a26_irqgrp {
		fsl,pins = <
			MX8MP_IOMUXC_SAI2_MCLK__GPIO4_IO27	0x140
		>;
	};

	pinctrl_csi2_pdb: csi2_pdbgrp {
		fsl,pins = <
			MX8MP_IOMUXC_SAI1_RXD1__GPIO4_IO03	0x29
		>;
	};

	pinctrl_csi1_dummy_host_power: csi1_dummyhostpowergrp {
		fsl,pins = <
			MX8MP_IOMUXC_SD2_WP__GPIO2_IO20	0x29
		>;
	};

	pinctrl_csi2_dummy_host_power: csi2_dummyhostpowergrp {
		fsl,pins = <
			MX8MP_IOMUXC_SD1_DATA0__GPIO2_IO02	0x29
		>;
	};
};

&vpu_g1 {
	status = "okay";
};

&vpu_g2 {
	status = "okay";
};

&vpu_vc8000e {
	status = "okay";
};

&vpu_v4l2 {
	status = "okay";
};

&gpu_3d {
	status = "okay";
};

&gpu_2d {
	status = "okay";
};

&ml_vipsi {
	status = "okay";
};

&mix_gpu_ml {
	status = "okay";
};

&cameradev {
	status = "okay";
};

&isi_0 {
	status = "okay";

	cap_device {
		status = "okay";
	};

	m2m_device {
		status = "okay";
	};
};

&isi_1 {
	status = "okay";

	cap_device {
		status = "okay";
	};
};

&dsp {
	status = "okay";
};
